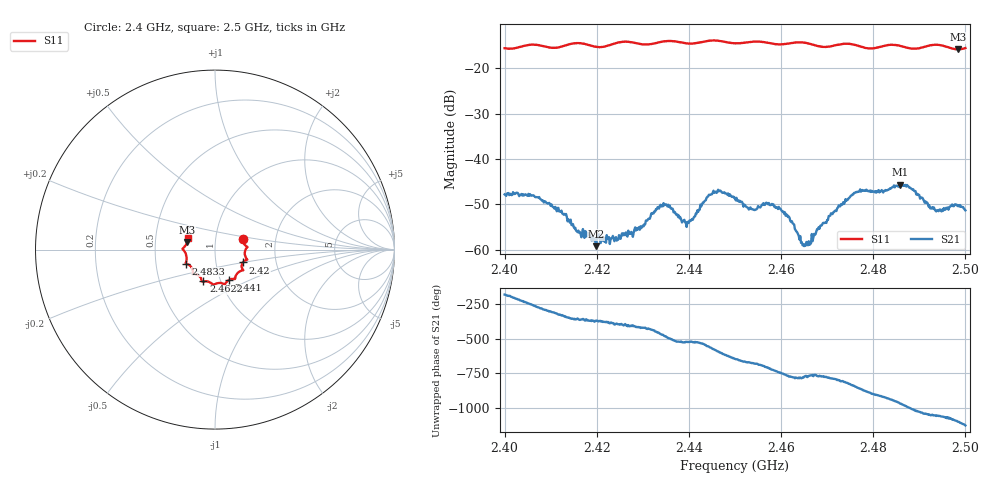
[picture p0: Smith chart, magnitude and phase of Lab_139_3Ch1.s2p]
# Hz S RI R 50
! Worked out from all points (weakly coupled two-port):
!   601 points, 2.4 GHz to 2.5 GHz, reference 50 ohm
!   highest |S21| = -45.67 dB at 2.4858 GHz (marker M1); lowest = -59.2 dB at 2.4198 GHz (marker M2)
!   lowest |S11| = -15.9 dB at 2.4983 GHz (marker M3), VSWR 1.38, Z = 36.5 + j3.09 ohm
!   |S11| at or under -10 dB: start of sweep to end of sweep
!   S12 and S22 are empty: the file has one direction only
!   S11 on the Smith chart (normalised r, x): 2.4 GHz: 1.35, +0.16; 2.42 GHz: 1.35, -0.20; 2.441 GHz: 1.09, -0.39; 2.4622 GHz: 0.83, -0.30; 2.4833 GHz: 0.71, -0.12; 2.5 GHz: 0.73, +0.10
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2.4e9  0.1543 0.0591  -0.00408 -6.13e-05  0 0  0 0
2.407333e9  0.1785 0.0117  8.26e-05 0.00378  0 0  0 0
2.416667e9  0.1782 -0.057  0.00138 3.68e-05  0 0  0 0
2.419833e9  0.1564 -0.0698  0.00108 -0.000205  0 0  0 0
2.42e9  0.1553 -0.0713  0.00132 -0.000179  0 0  0 0
2.4275e9  0.1541 -0.1154  0.00115 -0.00108  0 0  0 0
2.433333e9  0.1129 -0.154  -0.000174 -0.00296  0 0  0 0
2.439e9  0.0946 -0.1632  -0.00206 -0.000586  0 0  0 0
2.441e9  0.0753 -0.1706  -0.00216 -0.000628  0 0  0 0
2.445333e9  0.0546 -0.1936  -0.00371 0.00251  0 0  0 0
2.45e9  0.025 -0.1856  0.000961 0.00363  0 0  0 0
2.454e9  -0.00585 -0.1951  0.00202 0.00193  0 0  0 0
2.457833e9  -0.0233 -0.1852  0.00313 -5.89e-05  0 0  0 0
2.462167e9  -0.0645 -0.1771  0.00118 -0.00166  0 0  0 0
2.464833e9  -0.0734 -0.1763  0.000559 -0.000999  0 0  0 0
2.466667e9  -0.0756 -0.166  0.00108 -0.00104  0 0  0 0
2.475833e9  -0.1241 -0.1317  -0.00208 -0.00369  0 0  0 0
2.483333e9  -0.1615 -0.0784  -0.00393 0.00244  0 0  0 0
2.485833e9  -0.1614 -0.0695  -0.00194 0.00483  0 0  0 0
2.493833e9  -0.1806 0.0048  0.00248 0.00113  0 0  0 0
2.498333e9  -0.1553 0.0413  0.00286 -0.00102  0 0  0 0
2.5e9  -0.1528 0.065  0.00188 -0.00197  0 0  0 0
